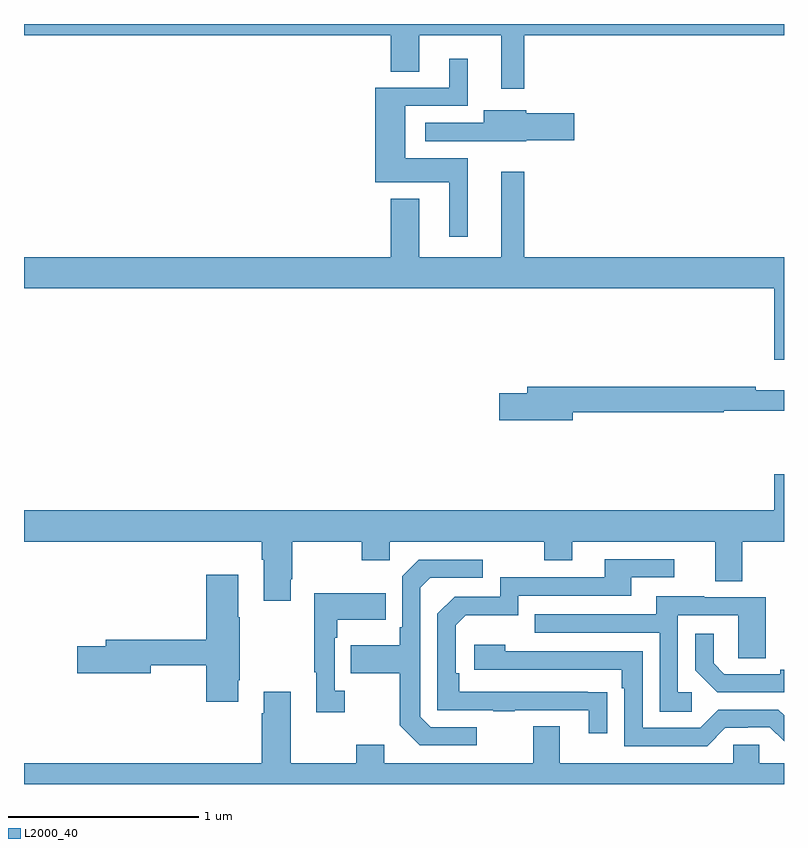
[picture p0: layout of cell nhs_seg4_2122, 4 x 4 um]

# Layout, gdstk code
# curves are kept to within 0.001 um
import gdstk
lib = gdstk.Library(unit=1e-6, precision=1e-09)
def P(c, l, *ps):  # polygons
    for p in ps: c.add(gdstk.Polygon(p, *l))
L2000_40 = (2000, 40)

nhs_seg4_2122 = lib.new_cell('nhs_seg4_2122')
P(nhs_seg4_2122, L2000_40, [(223.633,776.84),(225,776.84),(225,776.9),(221,776.9),(221,776.84),(222.929,776.84),(222.929,776.65),(223.081,776.65),(223.081,776.84),(223.511,776.84),(223.511,776.559),(223.633,776.559)],
  [(223.336,776.194),(223.006,776.194),(223.006,776.469),(223.336,776.469),(223.336,776.716),(223.238,776.716),(223.238,776.565),(222.848,776.565),(222.848,776.066),(223.238,776.066),(223.238,775.779),(223.336,775.779)],
  [(223.644,776.288),(223.897,776.288),(223.897,776.43),(223.644,776.43),(223.644,776.446),(223.421,776.446),(223.421,776.379),(223.113,776.379),(223.113,776.283),(223.425,776.283),(223.425,776.282),(223.644,776.282)],
  [(225,775.672),(223.633,775.672),(223.633,776.122),(223.511,776.122),(223.511,775.672),(223.081,775.672),(223.081,775.981),(222.929,775.981),(222.929,775.672),(221,775.672),(221,775.508),(224.948,775.508),(224.948,775.134),(225,775.134)],
  [(223.888,774.856),(224.684,774.856),(224.684,774.864),(225,774.864),(225,774.973),(224.852,774.973),(224.852,774.992),(223.649,774.992),(223.649,774.956),(223.5,774.956),(223.5,774.814),(223.888,774.814)],
  [(221,774.176),(222.251,774.176),(222.251,774.08),(222.263,774.08),(222.263,773.865),(222.403,773.865),(222.403,773.977),(222.411,773.977),(222.411,774.176),(222.778,774.176),(222.778,774.077),(222.924,774.077),(222.924,774.176),(223.738,774.176),(223.738,774.077),(223.885,774.077),(223.885,774.176),(224.639,774.176),(224.639,773.968),(224.779,773.968),(224.779,774.176),(225,774.176),(225,774.529),(224.948,774.529),(224.948,774.34),(221,774.34)],
  [(224.069,773.384),(223.292,773.385),(223.292,773.482),(223.272,773.482),(223.272,773.736),(223.325,773.789),(223.602,773.789),(223.602,773.892),(224.197,773.892),(224.197,773.988),(224.422,773.988),(224.422,774.084),(224.057,774.084),(224.057,773.988),(223.506,773.988),(223.506,773.886),(223.266,773.886),(223.176,773.796),(223.176,773.289),(223.471,773.289),(223.471,773.284),(223.583,773.284),(223.583,773.289),(223.973,773.289),(223.973,773.166),(224.069,773.166)],
  [(223.384,773.199),(223.14,773.199),(223.086,773.253),(223.086,773.934),(223.137,773.985),(223.414,773.985),(223.414,774.081),(223.077,774.081),(222.99,773.994),(222.99,773.725),(222.978,773.725),(222.978,773.629),(222.721,773.629),(222.721,773.482),(222.978,773.482),(222.978,773.209),(223.083,773.103),(223.384,773.103)],
  [(222.127,773.446),(222.135,773.446),(222.135,773.777),(222.127,773.777),(222.127,774.001),(221.96,774.001),(221.96,773.66),(221.429,773.66),(221.429,773.624),(221.28,773.624),(221.28,773.482),(221.668,773.482),(221.668,773.524),(221.96,773.524),(221.96,773.334),(222.127,773.334)],
  [(222.688,773.39),(222.636,773.39),(222.636,773.669),(222.649,773.669),(222.649,773.765),(222.905,773.765),(222.905,773.905),(222.528,773.905),(222.528,773.489),(222.539,773.489),(222.539,773.277),(222.688,773.277)],
  [(224.515,773.382),(224.442,773.382),(224.442,773.787),(224.76,773.787),(224.76,773.563),(224.905,773.563),(224.905,773.883),(224.581,773.883),(224.581,773.887),(224.327,773.887),(224.327,773.793),(223.687,773.793),(223.687,773.697),(224.346,773.697),(224.346,773.281),(224.515,773.281)],
  [(225,773.501),(224.981,773.501),(224.981,773.478),(224.686,773.478),(224.629,773.535),(224.629,773.692),(224.532,773.692),(224.532,773.498),(224.648,773.382),(225,773.382)],
  [(224.691,773.196),(224.81,773.196),(224.81,773.199),(224.925,773.199),(225,773.124),(225,773.262),(224.97,773.292),(224.655,773.292),(224.559,773.196),(224.256,773.196),(224.256,773.598),(223.532,773.598),(223.532,773.632),(223.371,773.632),(223.371,773.502),(224.147,773.502),(224.147,773.405),(224.16,773.405),(224.16,773.1),(224.595,773.1)],
  [(225,773.008),(224.871,773.008),(224.871,773.106),(224.733,773.106),(224.733,773.008),(223.819,773.008),(223.819,773.203),(223.679,773.203),(223.679,773.008),(222.895,773.008),(222.895,773.107),(222.748,773.107),(222.748,773.008),(222.403,773.008),(222.403,773.386),(222.263,773.386),(222.263,773.273),(222.251,773.273),(222.251,773.008),(221,773.008),(221,772.9),(225,772.9)])

lib.write_gds('nhs_seg4_2122.gds')
